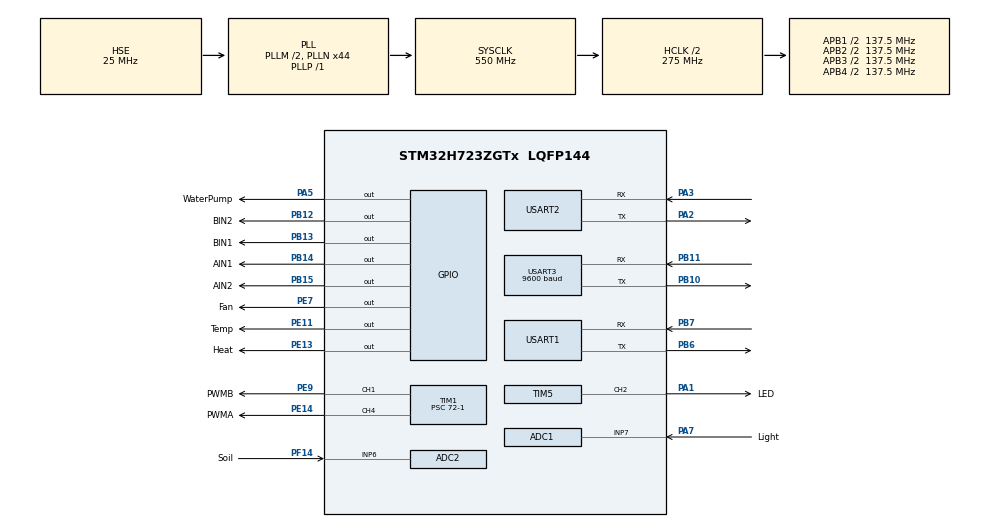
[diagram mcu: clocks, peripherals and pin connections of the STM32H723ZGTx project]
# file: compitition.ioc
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ADC1.Channel-0\#ChannelRegularConversion=ADC_CHANNEL_7
ADC1.ContinuousConvMode=DISABLE
ADC1.NbrOfConversionFlag=1
ADC1.OffsetNumber-0\#ChannelRegularConversion=ADC_OFFSET_NONE
ADC1.OffsetSignedSaturation-0\#ChannelRegularConversion=DISABLE
ADC1.Rank-0\#ChannelRegularConversion=1
ADC1.Resolution=ADC_RESOLUTION_12B
ADC1.SamplingTime-0\#ChannelRegularConversion=ADC_SAMPLETIME_1CYCLE_5
ADC1.master=1
ADC2.Channel-0\#ChannelRegularConversion=ADC_CHANNEL_6
ADC2.NbrOfConversionFlag=1
ADC2.OffsetNumber-0\#ChannelRegularConversion=ADC_OFFSET_NONE
ADC2.OffsetSignedSaturation-0\#ChannelRegularConversion=DISABLE
ADC2.Rank-0\#ChannelRegularConversion=1
ADC2.Resolution=ADC_RESOLUTION_12B
ADC2.SamplingTime-0\#ChannelRegularConversion=ADC_SAMPLETIME_1CYCLE_5
CORTEX_M7.default_mode_Activation=1
Dma.Request0=TIM5_CH2
Dma.TIM5_CH2.0.Direction=DMA_MEMORY_TO_PERIPH
Dma.TIM5_CH2.0.EventEnable=DISABLE
Dma.TIM5_CH2.0.FIFOMode=DMA_FIFOMODE_DISABLE
Dma.TIM5_CH2.0.Instance=DMA1_Stream0
Dma.TIM5_CH2.0.MemDataAlignment=DMA_MDATAALIGN_WORD
Dma.TIM5_CH2.0.MemInc=DMA_MINC_ENABLE
Dma.TIM5_CH2.0.Mode=DMA_NORMAL
Dma.TIM5_CH2.0.PeriphDataAlignment=DMA_PDATAALIGN_WORD
Dma.TIM5_CH2.0.PeriphInc=DMA_PINC_DISABLE
Dma.TIM5_CH2.0.Polarity=HAL_DMAMUX_REQ_GEN_RISING
Dma.TIM5_CH2.0.Priority=DMA_PRIORITY_LOW
Dma.TIM5_CH2.0.RequestNumber=1
Dma.TIM5_CH2.0.SignalID=NONE
Dma.TIM5_CH2.0.SyncEnable=DISABLE
Dma.TIM5_CH2.0.SyncPolarity=HAL_DMAMUX_SYNC_NO_EVENT
Dma.TIM5_CH2.0.SyncRequestNumber=1
Dma.TIM5_CH2.0.SyncSignalID=NONE
Mcu.Family=STM32H7
Mcu.Name=STM32H723ZGTx
Mcu.Package=LQFP144
NVIC.ADC_IRQn=true\:0\:0\:false\:false\:true\:true\:true\:true
NVIC.DMA1_Stream0_IRQn=true\:0\:0\:false\:false\:true\:false\:true\:true
NVIC.PriorityGroup=NVIC_PRIORITYGROUP_4
NVIC.USART1_IRQn=true\:0\:0\:false\:false\:true\:true\:true\:true
NVIC.USART2_IRQn=true\:0\:0\:false\:false\:true\:true\:true\:true
NVIC.USART3_IRQn=true\:0\:0\:false\:false\:true\:true\:true\:true
PA1.GPIO_Label=LED
PA1.Signal=S_TIM5_CH2
PA13(JTMS/SWDIO).Mode=Serial_Wire
PA13(JTMS/SWDIO).Signal=DEBUG_JTMS-SWDIO
PA14(JTCK/SWCLK).Mode=Serial_Wire
PA14(JTCK/SWCLK).Signal=DEBUG_JTCK-SWCLK
PA2.Mode=Asynchronous
PA2.Signal=USART2_TX
PA3.Mode=Asynchronous
PA3.Signal=USART2_RX
PA5.GPIO_Label=WaterPump
PA5.GPIO_PuPd=GPIO_PULLUP
PA5.Signal=GPIO_Output
PA7.GPIO_Label=Light
PA7.Signal=ADCx_INP7
PB10.Mode=Asynchronous
PB10.Signal=USART3_TX
PB11.Mode=Asynchronous
PB11.Signal=USART3_RX
PB12.GPIO_Label=BIN2
PB12.GPIO_Speed=GPIO_SPEED_FREQ_HIGH
PB12.Signal=GPIO_Output
PB13.GPIO_Label=BIN1
PB13.GPIO_Speed=GPIO_SPEED_FREQ_HIGH
PB13.Signal=GPIO_Output
PB14.GPIO_Label=AIN1
PB14.GPIO_Speed=GPIO_SPEED_FREQ_HIGH
PB14.Signal=GPIO_Output
PB15.GPIO_Label=AIN2
PB15.GPIO_Speed=GPIO_SPEED_FREQ_HIGH
PB15.Signal=GPIO_Output
PB6.Mode=Asynchronous
PB6.Signal=USART1_TX
PB7.Mode=Asynchronous
PB7.Signal=USART1_RX
PE11.GPIO_Label=Temp
PE11.GPIO_Speed=GPIO_SPEED_FREQ_HIGH
PE11.Signal=GPIO_Output
PE13.GPIO_Label=Heat
PE13.GPIO_Speed=GPIO_SPEED_FREQ_HIGH
PE13.Signal=GPIO_Output
PE14.GPIO_Label=PWMA
PE14.Signal=S_TIM1_CH4
PE7.GPIO_Label=Fan
PE7.Signal=GPIO_Output
PE9.GPIO_Label=PWMB
PE9.Signal=S_TIM1_CH1
PF14.GPIO_Label=Soil
PF14.Mode=IN6-Single-Ended
PF14.Signal=ADC2_INP6
PH0-OSC_IN.Mode=HSE-External-Oscillator
PH0-OSC_IN.Signal=RCC_OSC_IN
PH1-OSC_OUT.Mode=HSE-External-Oscillator
PH1-OSC_OUT.Signal=RCC_OSC_OUT
ProjectManager.HeapSize=0x200
ProjectManager.StackSize=0x400
ProjectManager.TargetToolchain=MDK-ARM V5.32
RCC.ADCCLockSelection=RCC_ADCCLKSOURCE_CLKP
RCC.ADCFreq_Value=25000000
RCC.APB1Freq_Value=137500000
RCC.APB2Freq_Value=137500000
RCC.APB3Freq_Value=137500000
RCC.APB4Freq_Value=137500000
RCC.CKPERSourceSelection=RCC_CLKPSOURCE_HSE
RCC.CortexFreq_Value=550000000
RCC.D1PPRE=RCC_APB3_DIV2
RCC.D2PPRE1=RCC_APB1_DIV2
RCC.D2PPRE2=RCC_APB2_DIV2
RCC.D3PPRE=RCC_APB4_DIV2
RCC.DIVM1=2
RCC.DIVM2=2
RCC.DIVN1=44
RCC.DIVN2=15
RCC.DIVP1=1
RCC.HCLKFreq_Value=275000000
RCC.HPRE=RCC_HCLK_DIV2
RCC.PLL2FRACN=2950
RCC.PLLFRACN=0
RCC.PLLSourceVirtual=RCC_PLLSOURCE_HSE
RCC.SYSCLKFreq_VALUE=550000000
RCC.SYSCLKSource=RCC_SYSCLKSOURCE_PLLCLK
RCC.USBFreq_Value=275000000
SH.ADCx_INP7.0=ADC1_INP7,IN7-Single-Ended
SH.S_TIM1_CH1.0=TIM1_CH1,PWM Generation1 CH1
SH.S_TIM1_CH4.0=TIM1_CH4,PWM Generation4 CH4
SH.S_TIM5_CH2.0=TIM5_CH2,PWM Generation2 CH2
TIM1.Channel-PWM\ Generation1\ CH1=TIM_CHANNEL_1
TIM1.Channel-PWM\ Generation4\ CH4=TIM_CHANNEL_4
TIM1.Period=999
TIM1.Prescaler=72-1
TIM2.Period=65535
TIM2.Prescaler=550-1
TIM5.Channel-PWM\ Generation2\ CH2=TIM_CHANNEL_2
TIM5.Period=89
USART1.VirtualMode-Asynchronous=VM_ASYNC
USART2.VirtualMode-Asynchronous=VM_ASYNC
USART3.BaudRate=9600
USART3.VirtualMode-Asynchronous=VM_ASYNC
VP_TIM2_VS_ClockSourceINT.Mode=Internal
board=custom

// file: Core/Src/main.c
/* USER CODE BEGIN Header */
/**
  ******************************************************************************
  * @file           : main.c
  * @brief          : Main program body
  ******************************************************************************
  * @attention
  *
  * Copyright (c) 2024 STMicroelectronics.
  * All rights reserved.
  *
  * This software is licensed under terms that can be found in the LICENSE file
  * in the root directory of this software component.
  * If no LICENSE file comes with this software, it is provided AS-IS.
  *
  ******************************************************************************
  */
/* USER CODE END Header */
#include "main.h"
#include "adc.h"
#include "dma.h"
#include "tim.h"
#include "usart.h"
#include "gpio.h"

/* USER CODE BEGIN Includes */
#include "stdio.h"
#include "moto.h"
#include "DHT11.h"
#include "ws2812.h"

/* USER CODE END Includes */

/* USER CODE BEGIN PV */
uint8_t CO2_Data[6],DHT_Buffer[5];  // 用于存储CO2数据的数组
uint16_t CO2_value,adc_value,Soil_adc_value;
uint8_t RxBuffer[6],RxBuffer1[6];

/* USER CODE END PV */

void SystemClock_Config(void);
void PeriphCommonClock_Config(void);
static void MPU_Config(void);

int main(void)
{

  /* MPU Configuration--------------------------------------------------------*/
  MPU_Config();

  /* MCU Configuration--------------------------------------------------------*/

  /* Reset of all peripherals, Initializes the Flash interface and the Systick. */
  HAL_Init();

  /* Configure the system clock */
  SystemClock_Config();

/* Configure the peripherals common clocks */
  PeriphCommonClock_Config();

  /* Initialize all configured peripherals */
  MX_GPIO_Init();
  MX_DMA_Init();
  MX_TIM1_Init();
  MX_USART2_UART_Init();
  MX_USART3_UART_Init();
  MX_ADC2_Init();
  MX_TIM2_Init();
  MX_USART1_UART_Init();
  MX_TIM5_Init();
  MX_ADC1_Init();

  /* Infinite loop */
  /* USER CODE BEGIN WHILE */
  while (1)
  {
		//开启ADC转换
		HAL_ADC_Start(&hadc1);
    HAL_ADC_PollForConversion(&hadc1, HAL_MAX_DELAY);
    uint16_t Light_adc_value = HAL_ADC_GetValue(&hadc1);
    HAL_ADC_Stop(&hadc1);

		HAL_ADC_Start(&hadc2);
    HAL_ADC_PollForConversion(&hadc2, HAL_MAX_DELAY);
    uint16_t Soil_adc_value = HAL_ADC_GetValue(&hadc2);
    HAL_ADC_Stop(&hadc2);

		if(Soil_adc_value>=4020) Soil_adc_value=4020;
		else if(Soil_adc_value<=1500) Soil_adc_value=1500;

		//土壤湿度转换
		uint16_t Soil_Humi = -0.03968254*Soil_adc_value+160;

		//打开串口中断
		HAL_UART_Receive_IT(&huart3,CO2_Data,6);
		HAL_UART_Receive_IT(&huart2,RxBuffer,1);
		HAL_UART_Receive_IT(&huart1,RxBuffer1,6);

		//获取DHT11湿度和温度
		DHT_Get_Temp_Humi_Data(DHT_Buffer);

		//二氧化碳检测
		 if(CO2_Data[5]==(uint8_t)(CO2_Data[0]+CO2_Data[1]+CO2_Data[2]+CO2_Data[3]+CO2_Data[4]))
		 {
			 CO2_value=CO2_Data[1]*256+CO2_Data[2];
		 }

		 //串口屏显示，每隔一秒更新数据
		 printf("n0.val=%d\xff\xff\xff",Soil_Humi);
		 printf("n1.val=%d\xff\xff\xff",Light_adc_value);
		 printf("n2.val=%d\xff\xff\xff",DHT_Buffer[2]);
		 printf("n3.val=%d\xff\xff\xff",DHT_Buffer[0]);
		 printf("n4.val=%d\xff\xff\xff",CO2_value);
		 HAL_Delay(1000);

    /* USER CODE END WHILE */

  }
}

void SystemClock_Config(void)
{
  RCC_OscInitTypeDef RCC_OscInitStruct = {0};
  RCC_ClkInitTypeDef RCC_ClkInitStruct = {0};

  /** Supply configuration update enable
  */
  HAL_PWREx_ConfigSupply(PWR_LDO_SUPPLY);

  /** Configure the main internal regulator output voltage
  */
  __HAL_PWR_VOLTAGESCALING_CONFIG(PWR_REGULATOR_VOLTAGE_SCALE0);

  while(!__HAL_PWR_GET_FLAG(PWR_FLAG_VOSRDY)) {}

  /** Initializes the RCC Oscillators according to the specified parameters
  * in the RCC_OscInitTypeDef structure.
  */
  RCC_OscInitStruct.OscillatorType = RCC_OSCILLATORTYPE_HSE;
  RCC_OscInitStruct.HSEState = RCC_HSE_ON;
  RCC_OscInitStruct.PLL.PLLState = RCC_PLL_ON;
  RCC_OscInitStruct.PLL.PLLSource = RCC_PLLSOURCE_HSE;
  RCC_OscInitStruct.PLL.PLLM = 2;
  RCC_OscInitStruct.PLL.PLLN = 44;
  RCC_OscInitStruct.PLL.PLLP = 1;
  RCC_OscInitStruct.PLL.PLLQ = 2;
  RCC_OscInitStruct.PLL.PLLR = 2;
  RCC_OscInitStruct.PLL.PLLRGE = RCC_PLL1VCIRANGE_3;
  RCC_OscInitStruct.PLL.PLLVCOSEL = RCC_PLL1VCOWIDE;
  RCC_OscInitStruct.PLL.PLLFRACN = 0;
  if (HAL_RCC_OscConfig(&RCC_OscInitStruct) != HAL_OK)
  {
    Error_Handler();
  }

  /** Initializes the CPU, AHB and APB buses clocks
  */
  RCC_ClkInitStruct.ClockType = RCC_CLOCKTYPE_HCLK|RCC_CLOCKTYPE_SYSCLK
                              |RCC_CLOCKTYPE_PCLK1|RCC_CLOCKTYPE_PCLK2
                              |RCC_CLOCKTYPE_D3PCLK1|RCC_CLOCKTYPE_D1PCLK1;
  RCC_ClkInitStruct.SYSCLKSource = RCC_SYSCLKSOURCE_PLLCLK;
  RCC_ClkInitStruct.SYSCLKDivider = RCC_SYSCLK_DIV1;
  RCC_ClkInitStruct.AHBCLKDivider = RCC_HCLK_DIV2;
  RCC_ClkInitStruct.APB3CLKDivider = RCC_APB3_DIV2;
  RCC_ClkInitStruct.APB1CLKDivider = RCC_APB1_DIV2;
  RCC_ClkInitStruct.APB2CLKDivider = RCC_APB2_DIV2;
  RCC_ClkInitStruct.APB4CLKDivider = RCC_APB4_DIV2;

  if (HAL_RCC_ClockConfig(&RCC_ClkInitStruct, FLASH_LATENCY_3) != HAL_OK)
  {
    Error_Handler();
  }
}

void PeriphCommonClock_Config(void)
{
  RCC_PeriphCLKInitTypeDef PeriphClkInitStruct = {0};

  /** Initializes the peripherals clock
  */
  PeriphClkInitStruct.PeriphClockSelection = RCC_PERIPHCLK_CKPER;
  PeriphClkInitStruct.CkperClockSelection = RCC_CLKPSOURCE_HSE;
  if (HAL_RCCEx_PeriphCLKConfig(&PeriphClkInitStruct) != HAL_OK)
  {
    Error_Handler();
  }
}

 /* MPU Configuration */

void MPU_Config(void)
{
  MPU_Region_InitTypeDef MPU_InitStruct = {0};

  /* Disables the MPU */
  HAL_MPU_Disable();

  /** Initializes and configures the Region and the memory to be protected
  */
  MPU_InitStruct.Enable = MPU_REGION_ENABLE;
  MPU_InitStruct.Number = MPU_REGION_NUMBER0;
  MPU_InitStruct.BaseAddress = 0x0;
  MPU_InitStruct.Size = MPU_REGION_SIZE_4GB;
  MPU_InitStruct.SubRegionDisable = 0x87;
  MPU_InitStruct.TypeExtField = MPU_TEX_LEVEL0;
  MPU_InitStruct.AccessPermission = MPU_REGION_NO_ACCESS;
  MPU_InitStruct.DisableExec = MPU_INSTRUCTION_ACCESS_DISABLE;
  MPU_InitStruct.IsShareable = MPU_ACCESS_SHAREABLE;
  MPU_InitStruct.IsCacheable = MPU_ACCESS_NOT_CACHEABLE;
  MPU_InitStruct.IsBufferable = MPU_ACCESS_NOT_BUFFERABLE;

  HAL_MPU_ConfigRegion(&MPU_InitStruct);
  /* Enables the MPU */
  HAL_MPU_Enable(MPU_PRIVILEGED_DEFAULT);

}

void Error_Handler(void)
{
  __disable_irq();
  while (1)
  {
  }
}
